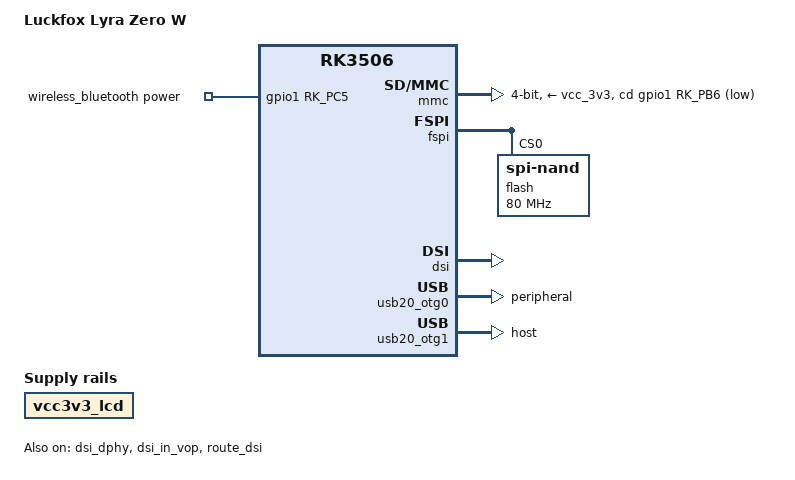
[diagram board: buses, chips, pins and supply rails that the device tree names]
// SPDX-License-Identifier: (GPL-2.0+ OR MIT)
/*
 * Copyright (c) 2024 Rockchip Electronics Co., Ltd.
 */

/dts-v1/;

#include "rk3506-luckfox-lyra-ultra.dtsi"

/ {
	model = "Luckfox Lyra Zero W";
	compatible = "rockchip,rk3506g-demo-display-control", "rockchip,rk3506";

	wireless_bluetooth: wireless-bluetooth {
		compatible = "bluetooth-platdata";
		BT,power_gpio = <&gpio1 RK_PC5 GPIO_ACTIVE_HIGH>;
		status = "okay";
	};

	vcc3v3_lcd: vcc3v3-lcd {
		status = "okay";
		compatible = "regulator-fixed";
		pinctrl-names = "default";
		pinctrl-0 = <&lcd_pwren_h>;
		regulator-name = "vcc3v3_lcd";
		regulator-always-on;
	};
};

/**********media**********/
&mmc {
	/* For SDMMC */
	max-frequency = <52000000>;
	bus-width = <4>;
	no-sdio;
	no-mmc;
	cap-mmc-highspeed;
	cap-sd-highspeed;
	cd-gpios = <&gpio1 RK_PB6 GPIO_ACTIVE_LOW>; //det
	disable-wp;
	//sd-uhs-sdr104;
	pinctrl-names = "default";
	pinctrl-0 = <&sdmmc_clk_pins &sdmmc_cmd_pins &sdmmc_bus4_pins &sdmmc_det &sdmmc_pwren>;
	vqmmc-supply = <&vcc_3v3>;
	vmmc-supply = <&vcc_3v3>;
	status = "okay";
};

&fspi {
	status = "okay";

	flash@0 {
		compatible = "spi-nand";
		reg = <0>;
		spi-max-frequency = <80000000>;
		spi-rx-bus-width = <4>;
		spi-tx-bus-width = <1>;
	};
};

/**********display**********/
&cma {
	size = <0x2000000>;
};

&dsi {
	status = "okay";
};

&dsi_dphy {
	status = "okay";
};

&dsi_in_vop {
	status = "okay";
};

&route_dsi {
	status = "okay";
};

&dsi_panel {
	power-supply = <&vcc3v3_lcd>;
};

/**********ethernet**********/
&gmac1 {
	status = "disabled";
};

/**********usb**********/
&usb20_otg0 {
	dr_mode = "peripheral";
	status = "okay";
};

&usb20_otg1 {
	dr_mode = "host";
	status = "okay";
};

/**********pinctrl**********/
&pinctrl {
	lcd {
		lcd_pwren_h: lcd-pwren-h {
			rockchip,pins = <1 RK_PC4 RK_FUNC_GPIO &pcfg_pull_up>;
		};
	};
};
